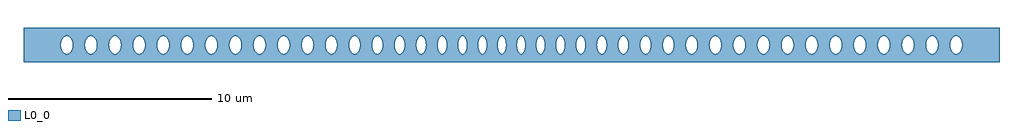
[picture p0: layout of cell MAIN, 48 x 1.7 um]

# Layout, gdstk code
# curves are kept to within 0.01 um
import gdstk
lib = gdstk.Library(unit=1e-6, precision=1e-09)
def P(c, l, *ps):  # polygons
    for p in ps: c.add(gdstk.Polygon(p, *l))
L0_0 = (0, 0)

main = lib.new_cell('MAIN')
P(main, L0_0, [(-21.946,-0.433),(-22.043,-0.364),(-22.105,-0.272),(-22.105,-0.85),(-21.946,-0.85)],
  [(-21.939,0.436),(-21.84,0.447),(-21.745,0.409),(-21.663,0.326),(-21.609,0.223),(-21.609,0.85),(-21.946,0.85)],
  [(-21.609,-0.223),(-21.675,-0.342),(-21.756,-0.416),(-21.848,-0.448),(-21.946,-0.433),(-21.946,-0.85),(-21.609,-0.85)],
  [(24,0.85),(22.105,0.85),(22.105,0.272),(22.15,0.147),(22.166,0.024),(22.15,-0.147),(22.105,-0.272),(22.105,-0.85),(24,-0.85)],
  [(-20.891,0.321),(-20.807,0.409),(-20.723,0.445),(-20.624,0.44),(-20.536,0.389),(-20.536,0.85),(-20.894,0.85)],
  [(-20.536,-0.389),(-20.624,-0.44),(-20.723,-0.445),(-20.807,-0.409),(-20.894,-0.317),(-20.894,-0.85),(-20.536,-0.85)],
  [(-20.981,0.006),(-20.955,0.185),(-20.894,0.317),(-20.894,0.85),(-21.609,0.85),(-21.609,0.223),(-21.57,0)],
  [(-19.786,0.118),(-19.743,0.258),(-19.68,0.357),(-19.589,0.428),(-19.499,0.449),(-19.499,0.85),(-19.787,0.85)],
  [(-19.499,-0.449),(-19.589,-0.428),(-19.68,-0.357),(-19.754,-0.233),(-19.787,-0.112),(-19.787,-0.85),(-19.499,-0.85)],
  [(-19.211,0.85),(-19.499,0.85),(-19.499,0.449),(-19.405,0.426),(-19.318,0.357),(-19.246,0.238),(-19.211,0.112)],
  [(-19.211,-0.112),(-19.246,-0.238),(-19.318,-0.357),(-19.405,-0.426),(-19.499,-0.449),(-19.499,-0.85),(-19.211,-0.85)],
  [(-19.797,0.006),(-19.787,0.85),(-20.536,0.85),(-20.536,0.389),(-20.481,0.33),(-20.425,0.223),(-20.398,0.13),(-20.386,0)],
  [(-18.459,0.392),(-18.37,0.441),(-18.275,0.445),(-18.191,0.409),(-18.104,0.317),(-18.104,0.85),(-18.466,0.85)],
  [(-18.104,-0.317),(-18.191,-0.409),(-18.275,-0.445),(-18.37,-0.441),(-18.466,-0.386),(-18.466,-0.85),(-18.104,-0.85)],
  [(-18.612,0.006),(-18.6,0.13),(-18.573,0.223),(-18.531,0.309),(-18.466,0.386),(-18.466,0.85),(-19.211,0.85),(-19.201,0)],
  [(-17.386,0.228),(-17.323,0.342),(-17.242,0.416),(-17.15,0.448),(-17.051,0.433),(-17.051,0.85),(-17.388,0.85)],
  [(-17.051,-0.433),(-17.15,-0.448),(-17.242,-0.416),(-17.323,-0.342),(-17.388,-0.223),(-17.388,-0.85),(-17.051,-0.85)],
  [(-16.832,0.85),(-17.051,0.85),(-17.051,0.433),(-16.968,0.377),(-16.895,0.277),(-16.848,0.147),(-16.832,0)],
  [(-16.832,0),(-16.848,-0.147),(-16.895,-0.277),(-16.955,-0.364),(-17.051,-0.433),(-17.051,-0.85),(-16.832,-0.85)],
  [(-16.243,0.006),(-16.227,0.147),(-16.187,0.263),(-16.12,0.364),(-16.024,0.433),(-16.024,0.85),(-16.832,0.85),(-16.832,0)],
  [(-16.024,-0.433),(-16.12,-0.364),(-16.187,-0.263),(-16.232,-0.124),(-16.243,0),(-16.832,0),(-16.832,-0.85),(-16.024,-0.85)],
  [(-16.016,0.436),(-15.917,0.447),(-15.822,0.409),(-15.74,0.326),(-15.687,0.223),(-15.687,0.85),(-16.024,0.85)],
  [(-15.687,-0.223),(-15.752,-0.342),(-15.833,-0.416),(-15.925,-0.448),(-16.024,-0.433),(-16.024,-0.85),(-15.687,-0.85)],
  [(-17.428,0.006),(-17.388,0.223),(-17.388,0.85),(-18.104,0.85),(-18.104,0.317),(-18.041,0.18),(-18.016,0)],
  [(-14.968,0.321),(-14.884,0.409),(-14.8,0.445),(-14.705,0.441),(-14.613,0.389),(-14.613,0.85),(-14.971,0.85)],
  [(-14.613,-0.389),(-14.705,-0.441),(-14.8,-0.445),(-14.884,-0.409),(-14.971,-0.317),(-14.971,-0.85),(-14.613,-0.85)],
  [(-15.058,0.006),(-15.037,0.169),(-14.971,0.317),(-14.971,0.85),(-15.687,0.85),(-15.687,0.223),(-15.66,0.13),(-15.647,0)],
  [(-13.863,0.118),(-13.829,0.238),(-13.757,0.357),(-13.67,0.426),(-13.576,0.449),(-13.576,0.85),(-13.864,0.85)],
  [(-13.576,-0.449),(-13.67,-0.426),(-13.757,-0.357),(-13.829,-0.238),(-13.864,-0.112),(-13.864,-0.85),(-13.576,-0.85)],
  [(-13.288,0.85),(-13.576,0.85),(-13.576,0.449),(-13.482,0.426),(-13.395,0.357),(-13.323,0.238),(-13.288,0.112)],
  [(-13.288,-0.112),(-13.323,-0.238),(-13.395,-0.357),(-13.482,-0.426),(-13.576,-0.449),(-13.576,-0.85),(-13.288,-0.85)],
  [(-13.874,0.006),(-13.864,0.85),(-14.613,0.85),(-14.613,0.389),(-14.544,0.309),(-14.502,0.223),(-14.475,0.13),(-14.463,0)],
  [(-12.536,0.392),(-12.451,0.44),(-12.352,0.445),(-12.268,0.409),(-12.181,0.317),(-12.181,0.85),(-12.543,0.85)],
  [(-12.181,-0.317),(-12.268,-0.409),(-12.352,-0.445),(-12.451,-0.44),(-12.543,-0.386),(-12.543,-0.85),(-12.181,-0.85)],
  [(-12.689,0.006),(-12.677,0.13),(-12.65,0.223),(-12.608,0.309),(-12.543,0.386),(-12.543,0.85),(-13.288,0.85),(-13.278,0)],
  [(-11.462,0.228),(-11.399,0.342),(-11.315,0.418),(-11.227,0.448),(-11.129,0.433),(-11.129,0.85),(-11.464,0.85)],
  [(-11.129,-0.433),(-11.227,-0.448),(-11.315,-0.418),(-11.399,-0.342),(-11.464,-0.223),(-11.464,-0.85),(-11.129,-0.85)],
  [(-10.911,0.85),(-11.129,0.85),(-11.129,0.433),(-11.046,0.377),(-10.976,0.282),(-10.928,0.152),(-10.911,0)],
  [(-10.911,0),(-10.928,-0.152),(-10.976,-0.282),(-11.046,-0.377),(-11.129,-0.433),(-11.129,-0.85),(-10.911,-0.85)],
  [(-10.318,0.006),(-10.306,0.13),(-10.261,0.268),(-10.188,0.374),(-10.104,0.433),(-10.104,0.85),(-10.911,0.85),(-10.911,0)],
  [(-10.104,-0.433),(-10.188,-0.374),(-10.261,-0.268),(-10.306,-0.13),(-10.318,0),(-10.911,0),(-10.911,-0.85),(-10.104,-0.85)],
  [(-10.096,0.436),(-10,0.447),(-9.91,0.411),(-9.827,0.326),(-9.775,0.223),(-9.775,0.85),(-10.104,0.85)],
  [(-9.775,-0.223),(-9.827,-0.326),(-9.91,-0.411),(-10.008,-0.448),(-10.104,-0.433),(-10.104,-0.85),(-9.775,-0.85)],
  [(-11.503,0.006),(-11.464,0.223),(-11.464,0.85),(-12.181,0.85),(-12.181,0.317),(-12.115,0.169),(-12.094,0)],
  [(-9.058,0.321),(-8.978,0.409),(-8.898,0.445),(-8.808,0.441),(-8.72,0.389),(-8.72,0.85),(-9.061,0.85)],
  [(-8.72,-0.389),(-8.808,-0.441),(-8.898,-0.445),(-8.978,-0.409),(-9.061,-0.317),(-9.061,-0.85),(-8.72,-0.85)],
  [(-9.144,0.006),(-9.126,0.158),(-9.061,0.317),(-9.061,0.85),(-9.775,0.85),(-9.775,0.223),(-9.736,0)],
  [(-7.978,0.118),(-7.952,0.223),(-7.892,0.342),(-7.811,0.42),(-7.715,0.449),(-7.715,0.85),(-7.979,0.85)],
  [(-7.715,-0.449),(-7.811,-0.42),(-7.892,-0.342),(-7.952,-0.223),(-7.979,-0.112),(-7.979,-0.85),(-7.715,-0.85)],
  [(-7.45,0.85),(-7.715,0.85),(-7.715,0.449),(-7.618,0.42),(-7.537,0.342),(-7.477,0.223),(-7.45,0.112)],
  [(-7.45,-0.112),(-7.477,-0.223),(-7.537,-0.342),(-7.618,-0.42),(-7.715,-0.449),(-7.715,-0.85),(-7.45,-0.85)],
  [(-7.988,0.006),(-7.979,0.85),(-8.72,0.85),(-8.72,0.389),(-8.655,0.309),(-8.615,0.223),(-8.578,0)],
  [(-6.721,0.392),(-6.646,0.44),(-6.559,0.445),(-6.485,0.409),(-6.409,0.317),(-6.409,0.85),(-6.727,0.85)],
  [(-6.409,-0.317),(-6.485,-0.409),(-6.559,-0.445),(-6.646,-0.44),(-6.727,-0.386),(-6.727,-0.85),(-6.409,-0.85)],
  [(-6.855,0.006),(-6.816,0.238),(-6.727,0.386),(-6.727,0.85),(-7.45,0.85),(-7.441,0)],
  [(-5.717,0.228),(-5.664,0.342),(-5.596,0.416),(-5.518,0.448),(-5.436,0.433),(-5.436,0.85),(-5.719,0.85)],
  [(-5.436,-0.433),(-5.518,-0.448),(-5.596,-0.416),(-5.664,-0.342),(-5.719,-0.223),(-5.719,-0.85),(-5.436,-0.85)],
  [(-5.252,0.85),(-5.436,0.85),(-5.436,0.433),(-5.363,0.374),(-5.301,0.268),(-5.265,0.147),(-5.252,0)],
  [(-5.252,0),(-5.265,-0.147),(-5.301,-0.268),(-5.363,-0.374),(-5.436,-0.433),(-5.436,-0.85),(-5.252,-0.85)],
  [(-4.678,0.006),(-4.665,0.147),(-4.631,0.268),(-4.577,0.367),(-4.502,0.433),(-4.502,0.85),(-5.252,0.85),(-5.252,0)],
  [(-4.502,-0.433),(-4.577,-0.367),(-4.631,-0.268),(-4.668,-0.13),(-4.678,0),(-5.252,0),(-5.252,-0.85),(-4.502,-0.85)],
  [(-4.496,0.436),(-4.418,0.447),(-4.341,0.409),(-4.278,0.33),(-4.233,0.223),(-4.233,0.85),(-4.502,0.85)],
  [(-4.233,-0.223),(-4.278,-0.33),(-4.341,-0.409),(-4.424,-0.448),(-4.502,-0.433),(-4.502,-0.85),(-4.233,-0.85)],
  [(-5.751,0.006),(-5.719,0.223),(-5.719,0.85),(-6.409,0.85),(-6.409,0.317),(-6.352,0.174),(-6.332,0)],
  [(-3.567,0.321),(-3.511,0.401),(-3.439,0.445),(-3.364,0.44),(-3.296,0.389),(-3.296,0.85),(-3.569,0.85)],
  [(-3.296,-0.389),(-3.364,-0.44),(-3.439,-0.445),(-3.511,-0.401),(-3.569,-0.317),(-3.569,-0.85),(-3.296,-0.85)],
  [(-3.635,0.006),(-3.618,0.174),(-3.569,0.317),(-3.569,0.85),(-4.233,0.85),(-4.233,0.223),(-4.202,0)],
  [(-2.615,0.118),(-2.584,0.258),(-2.538,0.357),(-2.469,0.43),(-2.406,0.449),(-2.406,0.85),(-2.616,0.85)],
  [(-2.406,-0.449),(-2.469,-0.43),(-2.538,-0.357),(-2.592,-0.233),(-2.616,-0.112),(-2.616,-0.85),(-2.406,-0.85)],
  [(-2.196,0.85),(-2.406,0.85),(-2.406,0.449),(-2.343,0.43),(-2.274,0.357),(-2.228,0.258),(-2.196,0.112)],
  [(-2.196,-0.112),(-2.228,-0.258),(-2.274,-0.357),(-2.343,-0.43),(-2.406,-0.449),(-2.406,-0.85),(-2.196,-0.85)],
  [(-2.623,0.006),(-2.616,0.85),(-3.296,0.85),(-3.296,0.389),(-3.252,0.326),(-3.213,0.228),(-3.182,0)],
  [(-1.53,0.392),(-1.468,0.441),(-1.401,0.445),(-1.342,0.409),(-1.281,0.317),(-1.281,0.85),(-1.535,0.85)],
  [(-1.281,-0.317),(-1.342,-0.409),(-1.401,-0.445),(-1.468,-0.441),(-1.535,-0.386),(-1.535,-0.85),(-1.281,-0.85)],
  [(-1.638,0.006),(-1.608,0.233),(-1.535,0.386),(-1.535,0.85),(-2.196,0.85),(-2.189,0)],
  [(-0.648,0.228),(-0.604,0.342),(-0.549,0.416),(-0.485,0.448),(-0.418,0.433),(-0.418,0.85),(-0.649,0.85)],
  [(-0.418,-0.433),(-0.485,-0.448),(-0.549,-0.416),(-0.604,-0.342),(-0.649,-0.223),(-0.649,-0.85),(-0.418,-0.85)],
  [(-0.268,0.85),(-0.418,0.85),(-0.418,0.433),(-0.352,0.364),(-0.306,0.263),(-0.277,0.135),(-0.268,0)],
  [(-0.268,0),(-0.277,-0.135),(-0.306,-0.263),(-0.352,-0.364),(-0.418,-0.433),(-0.418,-0.85),(-0.268,-0.85)],
  [(0.268,0.006),(0.306,0.263),(0.352,0.364),(0.418,0.433),(0.418,0.85),(-0.268,0.85),(-0.268,0)],
  [(0.418,-0.433),(0.352,-0.364),(0.306,-0.263),(0.277,-0.135),(0.268,0),(-0.268,0),(-0.268,-0.85),(0.418,-0.85)],
  [(0.423,0.436),(0.485,0.448),(0.549,0.416),(0.604,0.342),(0.649,0.223),(0.649,0.85),(0.418,0.85)],
  [(0.649,-0.223),(0.604,-0.342),(0.549,-0.416),(0.485,-0.448),(0.418,-0.433),(0.418,-0.85),(0.649,-0.85)],
  [(-0.676,0.006),(-0.649,0.223),(-0.649,0.85),(-1.281,0.85),(-1.281,0.317),(-1.237,0.18),(-1.22,0)],
  [(1.281,0.317),(1.342,0.409),(1.401,0.445),(1.468,0.441),(1.533,0.389),(1.533,0.85),(1.279,0.85)],
  [(1.533,-0.389),(1.468,-0.441),(1.401,-0.445),(1.342,-0.409),(1.279,-0.313),(1.279,-0.85),(1.533,-0.85)],
  [(1.22,0.006),(1.237,0.18),(1.279,0.313),(1.279,0.85),(0.649,0.85),(0.649,0.223),(0.676,0)],
  [(2.197,0.118),(2.228,0.258),(2.274,0.357),(2.343,0.43),(2.406,0.449),(2.406,0.85),(2.196,0.85)],
  [(2.406,-0.449),(2.343,-0.43),(2.274,-0.357),(2.228,-0.258),(2.196,-0.112),(2.196,-0.85),(2.406,-0.85)],
  [(2.615,0.85),(2.406,0.85),(2.406,0.449),(2.469,0.43),(2.538,0.357),(2.584,0.258),(2.615,0.118)],
  [(2.615,-0.118),(2.584,-0.258),(2.538,-0.357),(2.469,-0.43),(2.406,-0.449),(2.406,-0.85),(2.615,-0.85)],
  [(2.189,0.006),(2.196,0.85),(1.533,0.85),(1.533,0.389),(1.608,0.233),(1.638,0)],
  [(3.299,0.392),(3.364,0.44),(3.439,0.445),(3.511,0.401),(3.569,0.317),(3.569,0.85),(3.293,0.85)],
  [(3.569,-0.317),(3.511,-0.401),(3.439,-0.445),(3.364,-0.44),(3.293,-0.386),(3.293,-0.85),(3.569,-0.85)],
  [(3.182,0.006),(3.213,0.228),(3.293,0.386),(3.293,0.85),(2.615,0.85),(2.623,0)],
  [(4.235,0.228),(4.285,0.342),(4.341,0.409),(4.424,0.448),(4.499,0.434),(4.499,0.85),(4.233,0.85)],
  [(4.499,-0.434),(4.424,-0.448),(4.341,-0.409),(4.278,-0.33),(4.233,-0.223),(4.233,-0.85),(4.499,-0.85)],
  [(4.678,0.85),(4.499,0.85),(4.499,0.434),(4.577,0.367),(4.631,0.268),(4.668,0.13),(4.678,0)],
  [(4.678,0),(4.668,-0.13),(4.631,-0.268),(4.577,-0.367),(4.499,-0.434),(4.499,-0.85),(4.678,-0.85)],
  [(5.252,0.006),(5.265,0.147),(5.307,0.282),(5.363,0.374),(5.436,0.433),(5.436,0.85),(4.678,0.85),(4.678,0)],
  [(5.436,-0.433),(5.363,-0.374),(5.301,-0.268),(5.265,-0.147),(5.252,0),(4.678,0),(4.678,-0.85),(5.436,-0.85)],
  [(5.442,0.436),(5.518,0.448),(5.596,0.416),(5.664,0.342),(5.719,0.223),(5.719,0.85),(5.436,0.85)],
  [(5.719,-0.223),(5.664,-0.342),(5.596,-0.416),(5.518,-0.448),(5.436,-0.433),(5.436,-0.85),(5.719,-0.85)],
  [(4.202,0.006),(4.233,0.223),(4.233,0.85),(3.569,0.85),(3.569,0.317),(3.618,0.174),(3.635,0)],
  [(6.409,0.317),(6.485,0.409),(6.559,0.445),(6.646,0.44),(6.724,0.389),(6.724,0.85),(6.406,0.85)],
  [(6.724,-0.389),(6.646,-0.44),(6.559,-0.445),(6.485,-0.409),(6.406,-0.313),(6.406,-0.85),(6.724,-0.85)],
  [(6.332,0.006),(6.352,0.174),(6.406,0.313),(6.406,0.85),(5.719,0.85),(5.719,0.223),(5.752,0)],
  [(7.451,0.118),(7.477,0.223),(7.537,0.342),(7.618,0.42),(7.715,0.449),(7.715,0.85),(7.45,0.85)],
  [(7.715,-0.449),(7.618,-0.42),(7.537,-0.342),(7.477,-0.223),(7.45,-0.112),(7.45,-0.85),(7.715,-0.85)],
  [(7.978,0.85),(7.715,0.85),(7.715,0.449),(7.811,0.42),(7.892,0.342),(7.952,0.223),(7.978,0.118)],
  [(7.978,-0.118),(7.952,-0.223),(7.892,-0.342),(7.811,-0.42),(7.715,-0.449),(7.715,-0.85),(7.978,-0.85)],
  [(7.442,0.006),(7.45,0.85),(6.724,0.85),(6.724,0.389),(6.816,0.238),(6.856,0)],
  [(8.724,0.392),(8.808,0.441),(8.898,0.445),(8.978,0.409),(9.061,0.317),(9.061,0.85),(8.717,0.85)],
  [(9.061,-0.317),(8.978,-0.409),(8.898,-0.445),(8.808,-0.441),(8.717,-0.386),(8.717,-0.85),(9.061,-0.85)],
  [(8.578,0.006),(8.615,0.223),(8.655,0.309),(8.717,0.386),(8.717,0.85),(7.978,0.85),(7.988,0)],
  [(9.777,0.228),(9.827,0.326),(9.91,0.411),(10.008,0.448),(10.1,0.434),(10.1,0.85),(9.775,0.85)],
  [(10.1,-0.434),(10.008,-0.448),(9.91,-0.411),(9.827,-0.326),(9.775,-0.223),(9.775,-0.85),(10.1,-0.85)],
  [(10.318,0.85),(10.1,0.85),(10.1,0.434),(10.188,0.374),(10.261,0.268),(10.306,0.13),(10.318,0)],
  [(10.318,0),(10.306,-0.13),(10.261,-0.268),(10.188,-0.374),(10.1,-0.434),(10.1,-0.85),(10.318,-0.85)],
  [(10.911,0.006),(10.928,0.152),(10.976,0.282),(11.046,0.377),(11.129,0.433),(11.129,0.85),(10.318,0.85),(10.318,0)],
  [(11.129,-0.433),(11.046,-0.377),(10.976,-0.282),(10.928,-0.152),(10.911,0),(10.318,0),(10.318,-0.85),(11.129,-0.85)],
  [(11.137,0.436),(11.227,0.448),(11.326,0.411),(11.411,0.326),(11.464,0.223),(11.464,0.85),(11.129,0.85)],
  [(11.464,-0.223),(11.399,-0.342),(11.315,-0.418),(11.227,-0.448),(11.129,-0.433),(11.129,-0.85),(11.464,-0.85)],
  [(9.736,0.006),(9.775,0.223),(9.775,0.85),(9.061,0.85),(9.061,0.317),(9.126,0.158),(9.144,0)],
  [(12.181,0.317),(12.268,0.409),(12.352,0.445),(12.451,0.44),(12.539,0.389),(12.539,0.85),(12.178,0.85)],
  [(12.539,-0.389),(12.451,-0.44),(12.352,-0.445),(12.268,-0.409),(12.178,-0.313),(12.178,-0.85),(12.539,-0.85)],
  [(12.094,0.006),(12.115,0.169),(12.178,0.313),(12.178,0.85),(11.464,0.85),(11.464,0.223),(11.503,0)],
  [(13.289,0.118),(13.323,0.238),(13.395,0.357),(13.482,0.426),(13.576,0.449),(13.576,0.85),(13.288,0.85)],
  [(13.576,-0.449),(13.482,-0.426),(13.395,-0.357),(13.323,-0.238),(13.288,-0.112),(13.288,-0.85),(13.576,-0.85)],
  [(13.863,0.85),(13.576,0.85),(13.576,0.449),(13.67,0.426),(13.757,0.357),(13.829,0.238),(13.863,0.118)],
  [(13.863,-0.118),(13.829,-0.238),(13.757,-0.357),(13.67,-0.426),(13.576,-0.449),(13.576,-0.85),(13.863,-0.85)],
  [(13.278,0.006),(13.288,0.85),(12.539,0.85),(12.539,0.389),(12.594,0.33),(12.65,0.223),(12.677,0.13),(12.689,0)],
  [(14.616,0.392),(14.705,0.441),(14.8,0.445),(14.884,0.409),(14.971,0.317),(14.971,0.85),(14.609,0.85)],
  [(14.971,-0.317),(14.884,-0.409),(14.8,-0.445),(14.705,-0.441),(14.609,-0.386),(14.609,-0.85),(14.971,-0.85)],
  [(14.463,0.006),(14.475,0.13),(14.502,0.223),(14.544,0.309),(14.609,0.386),(14.609,0.85),(13.863,0.85),(13.874,0)],
  [(15.689,0.228),(15.752,0.342),(15.833,0.416),(15.925,0.448),(16.02,0.434),(16.02,0.85),(15.687,0.85)],
  [(16.02,-0.434),(15.925,-0.448),(15.833,-0.416),(15.752,-0.342),(15.687,-0.223),(15.687,-0.85),(16.02,-0.85)],
  [(16.243,0.85),(16.02,0.85),(16.02,0.434),(16.12,0.364),(16.187,0.263),(16.232,0.124),(16.243,0)],
  [(16.243,0),(16.232,-0.124),(16.187,-0.263),(16.12,-0.364),(16.02,-0.434),(16.02,-0.85),(16.243,-0.85)],
  [(16.832,0.006),(16.848,0.147),(16.895,0.277),(16.955,0.364),(17.051,0.433),(17.051,0.85),(16.243,0.85),(16.243,0)],
  [(17.051,-0.433),(16.968,-0.377),(16.895,-0.277),(16.848,-0.147),(16.832,0),(16.243,0),(16.243,-0.85),(17.051,-0.85)],
  [(17.059,0.436),(17.15,0.448),(17.253,0.409),(17.335,0.326),(17.388,0.223),(17.388,0.85),(17.051,0.85)],
  [(17.388,-0.223),(17.323,-0.342),(17.242,-0.416),(17.15,-0.448),(17.051,-0.433),(17.051,-0.85),(17.388,-0.85)],
  [(15.647,0.006),(15.687,0.223),(15.687,0.85),(14.971,0.85),(14.971,0.317),(15.037,0.169),(15.058,0)],
  [(18.104,0.317),(18.191,0.409),(18.275,0.445),(18.37,0.441),(18.462,0.389),(18.462,0.85),(18.101,0.85)],
  [(18.462,-0.389),(18.37,-0.441),(18.275,-0.445),(18.191,-0.409),(18.101,-0.313),(18.101,-0.85),(18.462,-0.85)],
  [(18.016,0.006),(18.041,0.18),(18.101,0.313),(18.101,0.85),(17.388,0.85),(17.388,0.223),(17.415,0.13),(17.428,0)],
  [(19.212,0.118),(19.257,0.263),(19.324,0.364),(19.413,0.43),(19.499,0.449),(19.499,0.85),(19.211,0.85)],
  [(19.499,-0.449),(19.405,-0.426),(19.318,-0.357),(19.246,-0.238),(19.211,-0.112),(19.211,-0.85),(19.499,-0.85)],
  [(19.786,0.85),(19.499,0.85),(19.499,0.449),(19.589,0.428),(19.68,0.357),(19.743,0.258),(19.786,0.118)],
  [(19.786,-0.118),(19.743,-0.258),(19.68,-0.357),(19.589,-0.428),(19.499,-0.449),(19.499,-0.85),(19.786,-0.85)],
  [(19.201,0.006),(19.211,0.85),(18.462,0.85),(18.462,0.389),(18.531,0.309),(18.573,0.223),(18.6,0.13),(18.612,0)],
  [(20.539,0.392),(20.624,0.44),(20.723,0.445),(20.807,0.409),(20.894,0.317),(20.894,0.85),(20.532,0.85)],
  [(20.894,-0.317),(20.807,-0.409),(20.723,-0.445),(20.624,-0.44),(20.532,-0.386),(20.532,-0.85),(20.894,-0.85)],
  [(20.386,0.006),(20.398,0.13),(20.425,0.223),(20.467,0.309),(20.532,0.386),(20.532,0.85),(19.786,0.85),(19.797,0)],
  [(21.611,0.228),(21.675,0.342),(21.756,0.416),(21.848,0.448),(21.943,0.434),(21.943,0.85),(21.609,0.85)],
  [(21.943,-0.434),(21.848,-0.448),(21.756,-0.416),(21.675,-0.342),(21.609,-0.223),(21.609,-0.85),(21.943,-0.85)],
  [(-22.105,-0.272),(-22.15,-0.147),(-22.166,-0.024),(-22.15,0.147),(-22.105,0.272),(-22.105,0.85),(-24,0.85),(-24,-0.85),(-22.105,-0.85)],
  [(-22.102,0.277),(-22.043,0.364),(-21.946,0.433),(-21.946,0.85),(-22.105,0.85)],
  [(22.105,0.85),(21.943,0.85),(21.943,0.434),(22.033,0.374),(22.105,0.272)],
  [(22.105,-0.272),(22.043,-0.364),(21.943,-0.434),(21.943,-0.85),(22.105,-0.85)],
  [(-20.894,-0.317),(-20.955,-0.185),(-20.981,0),(-21.57,0),(-21.609,-0.223),(-21.609,-0.85),(-20.894,-0.85)],
  [(-19.787,-0.112),(-19.797,0),(-20.386,0),(-20.398,-0.13),(-20.425,-0.223),(-20.481,-0.33),(-20.536,-0.389),(-20.536,-0.85),(-19.787,-0.85)],
  [(-18.466,-0.386),(-18.531,-0.309),(-18.573,-0.223),(-18.6,-0.13),(-18.612,0),(-19.201,0),(-19.211,-0.85),(-18.466,-0.85)],
  [(-17.388,-0.223),(-17.415,-0.13),(-17.428,0),(-18.016,0),(-18.041,-0.18),(-18.104,-0.317),(-18.104,-0.85),(-17.388,-0.85)],
  [(-14.971,-0.317),(-15.037,-0.169),(-15.058,0),(-15.647,0),(-15.66,-0.13),(-15.687,-0.223),(-15.687,-0.85),(-14.971,-0.85)],
  [(-13.864,-0.112),(-13.874,0),(-14.463,0),(-14.475,-0.13),(-14.502,-0.223),(-14.544,-0.309),(-14.613,-0.389),(-14.613,-0.85),(-13.864,-0.85)],
  [(-12.543,-0.386),(-12.608,-0.309),(-12.658,-0.202),(-12.689,0),(-13.278,0),(-13.288,-0.85),(-12.543,-0.85)],
  [(-11.464,-0.223),(-11.503,0),(-12.094,0),(-12.115,-0.169),(-12.181,-0.317),(-12.181,-0.85),(-11.464,-0.85)],
  [(-9.061,-0.317),(-9.126,-0.158),(-9.144,0),(-9.736,0),(-9.775,-0.223),(-9.775,-0.85),(-9.061,-0.85)],
  [(-7.979,-0.112),(-7.988,0),(-8.578,0),(-8.615,-0.223),(-8.655,-0.309),(-8.72,-0.389),(-8.72,-0.85),(-7.979,-0.85)],
  [(-6.727,-0.386),(-6.816,-0.238),(-6.856,0),(-7.441,0),(-7.45,-0.85),(-6.727,-0.85)],
  [(-5.719,-0.223),(-5.752,0),(-6.332,0),(-6.352,-0.174),(-6.409,-0.317),(-6.409,-0.85),(-5.719,-0.85)],
  [(-3.569,-0.317),(-3.618,-0.174),(-3.635,0),(-4.202,0),(-4.233,-0.223),(-4.233,-0.85),(-3.569,-0.85)],
  [(-2.616,-0.112),(-2.623,0),(-3.182,0),(-3.213,-0.228),(-3.252,-0.326),(-3.296,-0.389),(-3.296,-0.85),(-2.616,-0.85)],
  [(-1.535,-0.386),(-1.608,-0.233),(-1.638,0),(-2.189,0),(-2.196,-0.85),(-1.535,-0.85)],
  [(-0.649,-0.223),(-0.676,0),(-1.22,0),(-1.237,-0.18),(-1.281,-0.317),(-1.281,-0.85),(-0.649,-0.85)],
  [(1.279,-0.313),(1.237,-0.18),(1.22,0),(0.676,0),(0.649,-0.223),(0.649,-0.85),(1.279,-0.85)],
  [(2.196,-0.112),(2.189,0),(1.638,0),(1.608,-0.233),(1.533,-0.389),(1.533,-0.85),(2.196,-0.85)],
  [(3.293,-0.386),(3.213,-0.228),(3.182,0),(2.623,0),(2.615,-0.85),(3.293,-0.85)],
  [(4.233,-0.223),(4.202,0),(3.635,0),(3.618,-0.174),(3.569,-0.317),(3.569,-0.85),(4.233,-0.85)],
  [(6.406,-0.313),(6.352,-0.174),(6.332,0),(5.752,0),(5.719,-0.223),(5.719,-0.85),(6.406,-0.85)],
  [(7.45,-0.112),(7.441,0),(6.856,0),(6.816,-0.238),(6.724,-0.389),(6.724,-0.85),(7.45,-0.85)],
  [(8.717,-0.386),(8.655,-0.309),(8.611,-0.212),(8.578,0),(7.988,0),(7.978,-0.85),(8.717,-0.85)],
  [(9.775,-0.223),(9.736,0),(9.144,0),(9.126,-0.158),(9.061,-0.317),(9.061,-0.85),(9.775,-0.85)],
  [(12.178,-0.313),(12.115,-0.169),(12.094,0),(11.503,0),(11.464,-0.223),(11.464,-0.85),(12.178,-0.85)],
  [(13.288,-0.112),(13.278,0),(12.689,0),(12.677,-0.13),(12.65,-0.223),(12.594,-0.33),(12.539,-0.389),(12.539,-0.85),(13.288,-0.85)],
  [(14.609,-0.386),(14.544,-0.309),(14.494,-0.202),(14.463,0),(13.874,0),(13.863,-0.85),(14.609,-0.85)],
  [(15.687,-0.223),(15.66,-0.13),(15.647,0),(15.058,0),(15.037,-0.169),(14.971,-0.317),(14.971,-0.85),(15.687,-0.85)],
  [(18.101,-0.313),(18.035,-0.158),(18.016,0),(17.428,0),(17.415,-0.13),(17.388,-0.223),(17.388,-0.85),(18.101,-0.85)],
  [(19.211,-0.112),(19.201,0),(18.612,0),(18.6,-0.13),(18.573,-0.223),(18.531,-0.309),(18.462,-0.389),(18.462,-0.85),(19.211,-0.85)],
  [(20.532,-0.386),(20.467,-0.309),(20.417,-0.202),(20.386,0),(19.797,0),(19.786,-0.85),(20.532,-0.85)],
  [(21.609,-0.223),(21.57,0),(20.981,0),(20.955,-0.185),(20.894,-0.317),(20.894,-0.85),(21.609,-0.85)],
  [(21.57,0.006),(21.609,0.223),(21.609,0.85),(20.894,0.85),(20.894,0.317),(20.955,0.185),(20.981,0)])

lib.write_gds('MAIN.gds')
